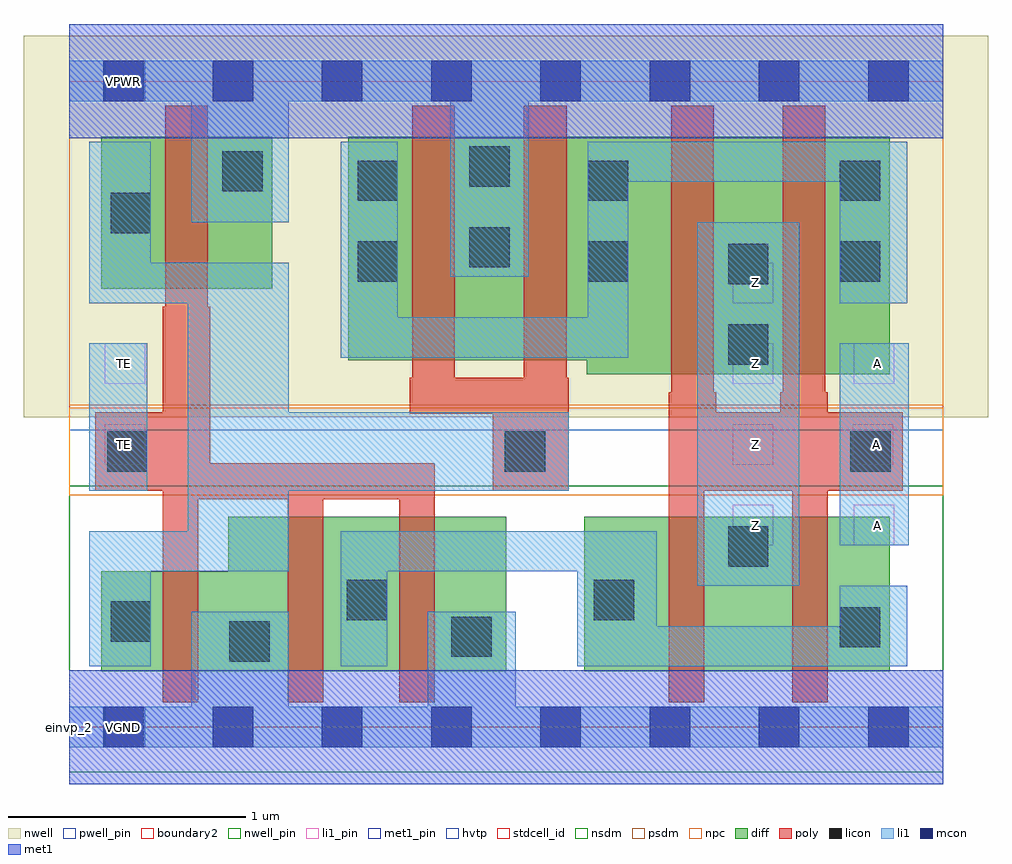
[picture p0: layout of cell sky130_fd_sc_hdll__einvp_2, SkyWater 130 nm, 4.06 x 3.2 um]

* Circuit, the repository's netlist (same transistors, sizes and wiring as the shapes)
* Copyright 2020 The SkyWater PDK Authors
*
* Licensed under the Apache License, Version 2.0 (the "License");
* you may not use this file except in compliance with the License.
* You may obtain a copy of the License at
*
*     https://www.apache.org/licenses/LICENSE-2.0
*
* Unless required by applicable law or agreed to in writing, software
* distributed under the License is distributed on an "AS IS" BASIS,
* WITHOUT WARRANTIES OR CONDITIONS OF ANY KIND, either express or implied.
* See the License for the specific language governing permissions and
* limitations under the License.
*
* SPDX-License-Identifier: Apache-2.0

.SUBCKT sky130_fd_sc_hdll__einvp_2 A TE VGND VNB VPB VPWR Z
*.PININFO A:I TE:I VGND:I VNB:I VPB:I VPWR:I Z:O
MMN0 Z A sndA VNB sky130_fd_pr__nfet_01v8 m=2 w=0.65U l=0.15U mult=1 sa=0.265 sb=0.265
+ sd=0.28 area=0.063 perim=1.14
MMN1 sndA TE VGND VNB sky130_fd_pr__nfet_01v8 m=2 w=0.65U l=0.15U mult=1 sa=0.265
+ sb=0.265 sd=0.28 area=0.063 perim=1.14
MMIN1 TEB TE VGND VNB sky130_fd_pr__nfet_01v8 m=1 w=0.42U l=0.15U mult=1 sa=0.265
+ sb=0.265 sd=0.28 area=0.063 perim=1.14
MMP0 VPWR TEB sndTEB VPB sky130_fd_pr__pfet_01v8_hvt m=2 w=0.94U l=0.18U mult=1
+ sa=0.265 sb=0.265 sd=0.28 area=0.063 perim=1.14
MMP1 sndTEB A Z VPB sky130_fd_pr__pfet_01v8_hvt m=2 w=1.0U l=0.18U mult=1 sa=0.265
+ sb=0.265 sd=0.28 area=0.063 perim=1.14
MMIP1 TEB TE VPWR VPB sky130_fd_pr__pfet_01v8_hvt m=1 w=0.64U l=0.18U mult=1 sa=0.265
+ sb=0.265 sd=0.28 area=0.063 perim=1.14
.ENDS sky130_fd_sc_hdll__einvp_2

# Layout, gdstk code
import gdstk
lib = gdstk.Library(unit=1e-6, precision=1e-09)
def R(c, l, rs):  # rectangles x0, y0, x1, y1
    for r in rs: c.add(gdstk.rectangle(r[:2], r[2:], *l))
def A(c, l, x, y, w, h, nx, ny, dx, dy):  # array of equal rectangles
    R(c, l, [(x+i*dx, y+j*dy, x+i*dx+w, y+j*dy+h) for i in range(nx) for j in range(ny)])
def P(c, l, *ps):  # polygons
    for p in ps: c.add(gdstk.Polygon(p, *l))
nwell_pin = (64, 16)
nwell = (64, 20)
diff = (65, 20)
poly = (66, 20)
licon = (66, 44)
li1_pin = (67, 16)
li1 = (67, 20)
mcon = (67, 44)
met1_pin = (68, 16)
met1 = (68, 20)
hvtp = (78, 44)
stdcell_id = (81, 4)
nsdm = (93, 44)
psdm = (94, 20)
npc = (95, 20)
pwell_pin = (122, 16)
boundary2 = (236, 0)

sky130_fd_sc_hdll__einvp = lib.new_cell('sky130_fd_sc_hdll__einvp_2')
R(sky130_fd_sc_hdll__einvp, nwell_pin, [(0.15,2.635,0.32,2.805)])
R(sky130_fd_sc_hdll__einvp, nwell, [(-0.19,1.305,3.87,2.91)])
R(sky130_fd_sc_hdll__einvp, diff, [(2.17,0.235,3.455,0.885), (0.135,1.845,0.855,2.485)])
P(sky130_fd_sc_hdll__einvp, diff, [(1.84,0.885),(0.67,0.885),(0.67,0.655),(0.135,0.655),(0.135,0.235),(1.84,0.235)],
  [(3.455,2.485),(1.175,2.485),(1.175,1.545),(2.18,1.545),(2.18,1.485),(3.455,1.485)])
P(sky130_fd_sc_hdll__einvp, poly, [(1.54,1.11),(0.595,1.11),(0.595,1.77),(0.585,1.77),(0.585,2.615),(0.405,2.615),(0.405,1.77),(0.395,1.77),(0.395,1.325),(0.11,1.325),(0.11,0.995),(0.395,0.995),(0.395,0.105),(0.545,0.105),(0.545,0.96),(0.92,0.96),(0.92,0.105),(1.07,0.105),(1.07,0.96),(1.39,0.96),(1.39,0.105),(1.54,0.105)],
  [(2.105,1.47),(2.095,1.47),(2.095,2.615),(1.915,2.615),(1.915,1.47),(1.625,1.47),(1.625,2.615),(1.445,2.615),(1.445,1.47),(1.435,1.47),(1.435,1.32),(1.785,1.32),(1.785,0.995),(2.105,0.995)],
  [(3.51,1.325),(3.195,1.325),(3.195,1.41),(3.185,1.41),(3.185,2.615),(3.005,2.615),(3.005,1.41),(2.995,1.41),(2.995,1.325),(2.725,1.325),(2.725,1.41),(2.715,1.41),(2.715,2.615),(2.535,2.615),(2.535,1.41),(2.525,1.41),(2.525,0.105),(2.675,0.105),(2.675,0.995),(3.045,0.995),(3.045,0.105),(3.195,0.105),(3.195,0.995),(3.51,0.995)])
R(sky130_fd_sc_hdll__einvp, licon, [(0.675,0.275,0.845,0.445), (1.61,0.295,1.78,0.465), (3.245,0.335,3.415,0.505), (0.175,0.36,0.345,0.53), (1.17,0.45,1.34,0.62), (2.21,0.45,2.38,0.62), (2.775,0.675,2.945,0.845), (0.16,1.075,0.33,1.245), (1.835,1.075,2.005,1.245), (3.29,1.075,3.46,1.245), (2.775,1.525,2.945,1.695), (2.775,1.865,2.945,2.035), (1.215,1.875,1.385,2.045), (2.185,1.875,2.355,2.045), (3.245,1.875,3.415,2.045), (1.685,1.935,1.855,2.105), (0.175,2.08,0.345,2.25), (1.215,2.215,1.385,2.385), (2.185,2.215,2.355,2.385), (3.245,2.215,3.415,2.385), (0.645,2.255,0.815,2.425), (1.685,2.275,1.855,2.445)])
A(sky130_fd_sc_hdll__einvp, li1_pin, 2.795, 0.765, 0.17, 0.17, 1, 4, 0, 0.34)
R(sky130_fd_sc_hdll__einvp, li1_pin, [(3.305,0.765,3.475,0.935), (0.15,1.105,0.32,1.275), (3.3,1.105,3.47,1.275), (0.15,1.445,0.32,1.615), (3.305,1.445,3.475,1.615)])
R(sky130_fd_sc_hdll__einvp, li1, [(2.645,0.595,3.075,2.125), (3.245,0.765,3.535,1.615), (0.085,0.995,0.33,1.615)])
P(sky130_fd_sc_hdll__einvp, li1, [(3.68,2.805),(0,2.805),(0,2.635),(0.515,2.635),(0.515,2.125),(0.925,2.125),(0.925,2.635),(1.605,2.635),(1.605,1.895),(1.935,1.895),(1.935,2.635),(3.68,2.635)],
  [(3.53,0.595),(3.245,0.595),(3.245,0.425),(2.475,0.425),(2.475,0.825),(1.145,0.825),(1.145,0.255),(1.34,0.255),(1.34,0.655),(2.14,0.655),(2.14,0.255),(3.53,0.255)],
  [(3.53,2.465),(2.185,2.465),(2.185,1.725),(1.385,1.725),(1.385,2.465),(1.145,2.465),(1.145,1.555),(2.355,1.555),(2.355,2.295),(3.245,2.295),(3.245,1.785),(3.53,1.785)],
  [(2.105,1.325),(0.925,1.325),(0.925,1.955),(0.345,1.955),(0.345,2.465),(0.085,2.465),(0.085,1.785),(0.5,1.785),(0.5,0.825),(0.085,0.825),(0.085,0.255),(0.345,0.255),(0.345,0.655),(0.925,0.655),(0.925,0.995),(2.105,0.995)],
  [(3.68,0.085),(1.88,0.085),(1.88,0.485),(1.51,0.485),(1.51,0.085),(0.925,0.085),(0.925,0.485),(0.515,0.485),(0.515,0.085),(0,0.085),(0,-0.085),(3.68,-0.085)])
A(sky130_fd_sc_hdll__einvp, mcon, 0.145, -0.085, 0.17, 0.17, 8, 2, 0.46, 2.72)
R(sky130_fd_sc_hdll__einvp, met1_pin, [(0.15,-0.085,0.32,0.085), (0.15,2.635,0.32,2.805)])
R(sky130_fd_sc_hdll__einvp, met1, [(0,-0.24,3.68,0.24), (0,2.48,3.68,2.96)])
R(sky130_fd_sc_hdll__einvp, hvtp, [(0,1.25,3.68,2.72)])
R(sky130_fd_sc_hdll__einvp, stdcell_id, [(0,0,3.68,2.72)])
R(sky130_fd_sc_hdll__einvp, nsdm, [(0,-0.19,3.68,1.015)])
R(sky130_fd_sc_hdll__einvp, psdm, [(0,1.355,3.68,2.91)])
R(sky130_fd_sc_hdll__einvp, npc, [(0,0.975,3.68,1.345)])
R(sky130_fd_sc_hdll__einvp, pwell_pin, [(0.15,-0.085,0.32,0.085)])
R(sky130_fd_sc_hdll__einvp, boundary2, [(0,0,3.68,2.72)])
sky130_fd_sc_hdll__einvp.add(gdstk.Label('A', (3.405,0.85), layer=67, texttype=5))
sky130_fd_sc_hdll__einvp.add(gdstk.Label('A', (3.405,1.53), layer=67, texttype=5))
sky130_fd_sc_hdll__einvp.add(gdstk.Label('A', (3.4,1.19), layer=67, texttype=5))
sky130_fd_sc_hdll__einvp.add(gdstk.Label('Z', (2.89,0.85), layer=67, texttype=5))
sky130_fd_sc_hdll__einvp.add(gdstk.Label('Z', (2.89,1.19), layer=67, texttype=5))
sky130_fd_sc_hdll__einvp.add(gdstk.Label('Z', (2.89,1.53), layer=67, texttype=5))
sky130_fd_sc_hdll__einvp.add(gdstk.Label('Z', (2.89,1.87), layer=67, texttype=5))
sky130_fd_sc_hdll__einvp.add(gdstk.Label('TE', (0.235,1.19), layer=67, texttype=5))
sky130_fd_sc_hdll__einvp.add(gdstk.Label('TE', (0.235,1.53), layer=67, texttype=5))
sky130_fd_sc_hdll__einvp.add(gdstk.Label('VGND', (0.23,0), layer=68, texttype=5))
sky130_fd_sc_hdll__einvp.add(gdstk.Label('VPWR', (0.23,2.72), layer=68, texttype=5))
sky130_fd_sc_hdll__einvp.add(gdstk.Label('VPB', (0.235,2.72), layer=64, texttype=5))
sky130_fd_sc_hdll__einvp.add(gdstk.Label('VNB', (0.235,0), layer=64, texttype=59))
sky130_fd_sc_hdll__einvp.add(gdstk.Label('einvp_2', (0,0), layer=83, texttype=44))

lib.write_gds('sky130_fd_sc_hdll__einvp_2.gds')
